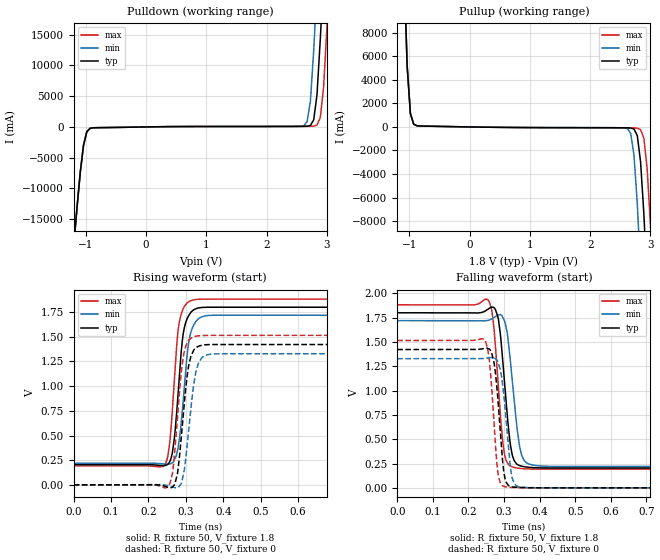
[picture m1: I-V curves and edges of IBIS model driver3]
| IBIS file invchain_test_0615_v5_v2 created by PYS2IBIS3
| Missouri S&T EMC Lab
[IBIS Ver] 7.1
[File Name] invchain_test_0615_v5_v2.ibs
[File Rev] 1.0
[Date] Jun 15,2021
[Component] invchain
[Manufacturer] yourcompany
[Package]
| variable   typ   min   max
R_pkg 0 NA NA
L_pkg 0H NA NA
C_pkg 0F NA NA
[Pin]  signal_name   model_name   R_pin   L_pin   C_pin
VSSQ   VSSQ   Gnd
VCCQ   VCCQ   Power
| IN IN dummy
PAD   PAD   driver3
| End of Component
| Models and submodels in the file (1): driver3 (Output)
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[Model] driver3
Model_type Output
Polarity Non-Inverting
Enable Active-Low
Vinl  = 0.8V
Vinh  = 2V
C_comp 1.2000pF 1.0000pF 1.4000pF
[Temperature Range] 27.0000 27.0000 27.0000
[Voltage Range] 1.8000V 1.7000V 1.9000V
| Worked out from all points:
|   slope of the pulldown table from 0 to 0.27 V, typ, clamps not added: 6.79 ohm
|   slope of the pullup table from 0 to 0.27 V, typ, clamps not added: 12.6 ohm
|   rising waveform, R_fixture 50, V_fixture 1.8: 20-80 % time 20.5ps typ, 22.2ps min, 19.2ps max; typ from 0.204 V to 1.8 V
|   rising waveform, R_fixture 50, V_fixture 0: 20-80 % time 21.7ps typ, 23.3ps min, 20.5ps max; typ from 0 V to 1.42 V
|   falling waveform, R_fixture 50, V_fixture 1.8: 20-80 % time 22.9ps typ, 25.5ps min, 21ps max; typ from 1.8 V to 0.204 V
|   falling waveform, R_fixture 50, V_fixture 0: 20-80 % time 18.6ps typ, 20.2ps min, 17.6ps max; typ from 1.42 V to 0 V
[Pulldown]
| Voltage   I(typ)   I(min)   I(max)
-1.8V     -87.88A    -87.88A    -87.88A
-1.2V     -19.4A     -19.4A     -19.4A
-1.036V   -2.952A    -2.948A    -2.955A
-927.3mV  -221.8mA   -216.4mA   -227mA
2.618V    95.77mA    193.1mA    97.15mA
2.727V    244.8mA    4.224A     106.4mA
2.782V    1.151A     12.49A     132.5mA
2.836V    5.27A      23.04A     313.7mA
2.891V    14.25A     33.59A     1.533A
2.946V    24.81A     44.15A     6.464A
3V        35.36A     54.71A     16.02A
3.6V      151.5A     170.8A     132.1A
[Pullup]
| Voltage   I(typ)   I(min)   I(max)
-1.8V     151.4A     151.4A     151.4A
-1.091V   14.2A      14.19A     14.2A
-981.8mV  1.13A      1.129A     1.132A
-872.7mV  99.18mA    97.54mA    100.6mA
2.618V    -78.19mA   -142.5mA   -79.21mA
2.727V    -177.2mA   -2.408A    -86.52mA
2.782V    -728.3mA   -6.523A    -104.6mA
2.836V    -2.952A    -12.18A    -222.3mA
2.891V    -7.391A    -18.4A     -950.7mA
2.946V    -13.22A    -24.62A    -3.561A
3V        -19.44A    -30.85A    -8.297A
3.6V      -87.92A    -99.33A    -76.52A
[Ramp]
| variable   typ   min   max
dV/dt_r 0.8532/0.02163n 0.7968/0.02332n 0.9090/0.02042n
dV/dt_f 0.9575/0.023n 0.8972/0.02469n 1.0171/0.02146n
R_load = 50
[Rising Waveform]
R_fixture = 50
V_fixture = 1.8
|time   V(typ)   V(min)   V(max)
0s        204.2mV    219.5mV    192.2mV
243.3ps   196mV      210.6mV    202.5mV
253.6ps   214.7mV    210.8mV    337.5mV
263.8ps   322mV      223.5mV    752.1mV
282.5ps   1.096V     462.3mV    1.65V
296.1ps   1.596V     995.3mV    1.808V
306.3ps   1.707V     1.411V     1.851V
318.2ps   1.766V     1.598V     1.873V
374.4ps   1.8V       1.719V     1.882V
1.7ns     1.8V       1.719V     1.882V
[Rising Waveform]
R_fixture = 50
V_fixture = 0
|time   V(typ)   V(min)   V(max)
0s        13.08nV    12.76nV    13.48nV
251.9ps   -25.85mV   -7.176mV   -20.8mV
265.5ps   -16.77mV   -23.41mV   151.9mV
277.4ps   110.9mV    -28.42mV   673.2mV
289.3ps   543.6mV    32.19mV    1.194V
306.3ps   1.18V      503.6mV    1.458V
325ps     1.383V     1.108V     1.505V
342ps     1.414V     1.286V     1.513V
374.4ps   1.422V     1.327V     1.515V
1.7ns     1.422V     1.328V     1.515V
[Falling Waveform]
R_fixture = 50
V_fixture = 1.8
|time   V(typ)   V(min)   V(max)
0s        1.8V       1.719V     1.882V
255.3ps   1.838V     1.723V     1.93V
270.6ps   1.856V     1.748V     1.68V
284.2ps   1.735V     1.777V     1.028V
301.2ps   1.091V     1.717V     351.2mV
316.5ps   480.7mV    1.353V     227.4mV
325ps     315.9mV    1.026V     213.3mV
348.8ps   223.3mV    346mV      198.4mV
386.3ps   207.1mV    231.1mV    192.9mV
1.7ns     204.2mV    219.5mV    192.2mV
[Falling Waveform]
R_fixture = 50
V_fixture = 0
|time   V(typ)   V(min)   V(max)
0s        1.422V     1.328V     1.515V
246.7ps   1.435V     1.332V     1.513V
258.7ps   1.426V     1.337V     1.31V
272.3ps   1.28V      1.337V     651.6mV
282.5ps   928.5mV    1.298V     162.8mV
291ps     508.8mV    1.187V     43.91mV
299.5ps   161.1mV    951.1mV    14.59mV
319.9ps   11.93mV    158.6mV    4.875mV
340.3ps   4.203mV    12.25mV    1.726mV
1.7ns     13.08nV    12.76nV    13.54nV
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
